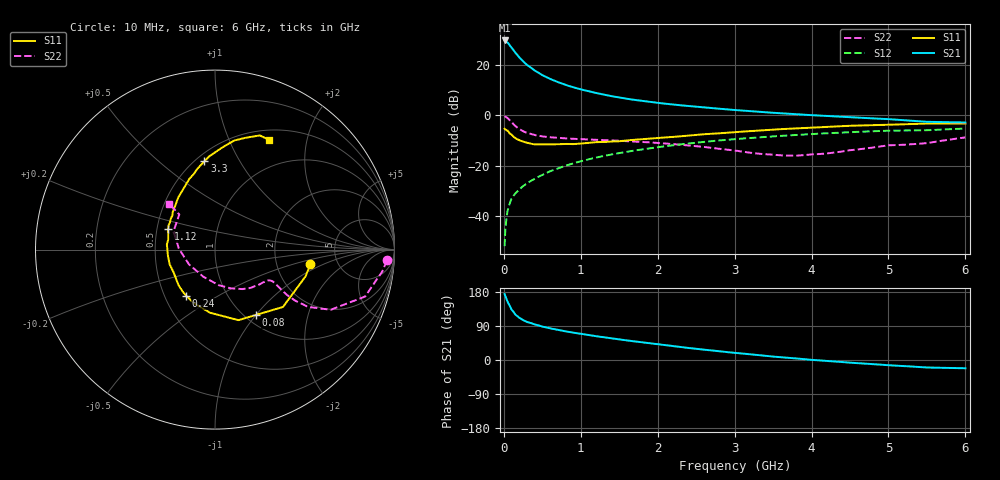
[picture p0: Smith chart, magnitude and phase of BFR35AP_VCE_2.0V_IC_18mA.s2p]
! Infineon Technologies  Discrete & RF Semiconductors
! BFR35AP
! VCE =  2.0 V,  IC =  18 mA
! Common Emitter S-Parameters:  Nov 2015
# GHz  S  MA  R  50
!  f  S11  S21  S12  S22
! GHz  MAG  ANG  MAG  ANG  MAG  ANG  MAG  ANG
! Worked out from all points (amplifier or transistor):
!   210 points, 10 MHz to 6 GHz, reference 50 ohm
!   highest |S21| = 29.7 dB at 10 MHz (marker M1)
!   |S21| within 3 dB of that: start of sweep to 105.3 MHz
!   unconditionally stable (mu >= 1): 370.6 MHz to 3.925 GHz
!   at 185 MHz: K = 0.75, MSG = 26.8 dB, |S12| = -30.0 dB
!   at 1.52 GHz: K = 1.13, MAG = 8.7 dB, |S12| = -14.9 dB
!   at 6 GHz: K = 0.99, MSG = 1.2 dB, |S12| = -5.3 dB
!   S11 on the Smith chart (normalised r, x): 10 MHz: 3.15, -0.71; 80 MHz: 1.12, -1.00; 240 MHz: 0.64, -0.36; 1.12 GHz: 0.57, +0.14; 3.3 GHz: 0.55, +0.72; 6 GHz: 0.62, +1.42
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0.01  0.5379 -8.6  30.59 174.0  0.0025 84.8  0.9601 -3.6
0.02  0.5263 -16.4  30.22 168.1  0.0053 85.4  0.9401 -7.4
0.05  0.4955 -40.2  27.88 152.6  0.0129 74.3  0.8767 -17.3
0.08  0.4302 -57.7  24.13 142.0  0.0183 68.8  0.7836 -23.0
0.1  0.4141 -71.6  22.21 133.1  0.022 66.7  0.7267 -27.5
0.15  0.3529 -94.5  17.46 119.6  0.028 64.4  0.6088 -31.6
0.2  0.3205 -111.6  14.17 111.4  0.0333 64.3  0.5313 -32.5
0.24  0.3031 -121.9  12.23 106.6  0.0379 64.5  0.4903 -32.3
0.3  0.2844 -135.5  10.04 100.5  0.0442 65.9  0.4456 -31.6
0.4  0.2634 -151.0  7.751 93.9  0.0544 67.3  0.4034 -30.1
0.5  0.2658 -162.0  6.257 88.2  0.065 68.4  0.3787 -29.1
0.7  0.265 -179.9  4.565 79.4  0.0875 68.9  0.3553 -29.1
0.8  0.2696 174.2  4.008 75.6  0.0989 68.0  0.3471 -29.5
1.02  0.2752 161.2  3.209 68.4  0.1236 66.8  0.3341 -31.7
1.12  0.2849 156.5  2.948 65.4  0.1352 66.1  0.329 -33.2
1.6  0.3166 137.9  2.124 51.6  0.1879 61.0  0.3044 -41.3
2.02  0.356 124.9  1.746 40.9  0.2334 56.1  0.2795 -50.7
3.1  0.4722 100.3  1.237 17.0  0.3437 41.7  0.1891 -88.6
3.3  0.4951 96.9  1.175 13.2  0.3618 38.8  0.1728 -100.1
4.1  0.5769 85.0  0.984 -1.0  0.4304 27.9  0.1692 -157.6
5.1  0.6533 73.3  0.816 -14.9  0.4946 13.7  0.2551 151.7
6  0.6818 63.6  0.717 -21.8  0.5443 3.6  0.3621 135.0
